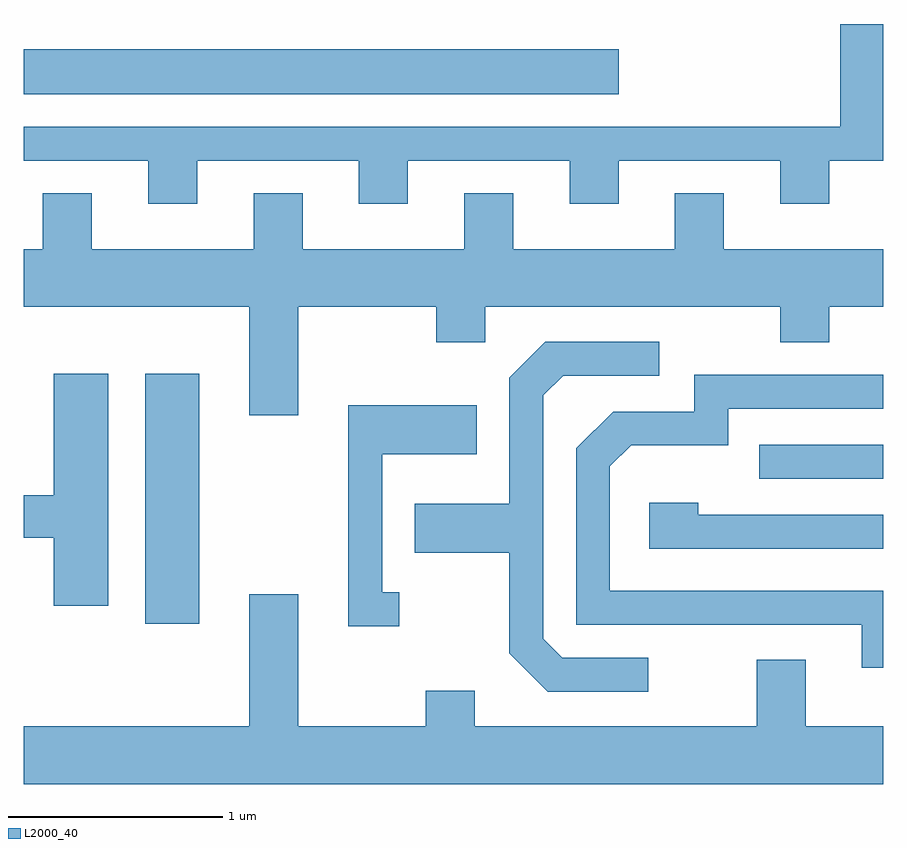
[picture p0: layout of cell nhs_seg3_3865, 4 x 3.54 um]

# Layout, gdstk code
import gdstk
lib = gdstk.Library(unit=1e-6, precision=1e-09)
def R(c, l, rs):  # rectangles x0, y0, x1, y1
    for r in rs: c.add(gdstk.rectangle(r[:2], r[2:], *l))
def P(c, l, *ps):  # polygons
    for p in ps: c.add(gdstk.Polygon(p, *l))
L2000_40 = (2000, 40)

nhs_seg3_3865 = lib.new_cell('nhs_seg3_3865')
R(nhs_seg3_3865, L2000_40, [(298.176,1231.101,298.429,1232.264), (301.033,1231.776,301.611,1231.934), (297.611,1233.566,300.379,1233.774)])
P(nhs_seg3_3865, L2000_40, [(298.419,1233.256),(299.171,1233.256),(299.171,1233.056),(299.399,1233.056),(299.399,1233.256),(300.151,1233.256),(300.151,1233.056),(300.379,1233.056),(300.379,1233.256),(301.131,1233.256),(301.131,1233.056),(301.359,1233.056),(301.359,1233.256),(301.611,1233.256),(301.611,1233.892),(301.411,1233.892),(301.411,1233.414),(297.611,1233.414),(297.611,1233.256),(298.191,1233.256),(298.191,1233.056),(298.419,1233.056)],
  [(298.889,1232.576),(299.531,1232.576),(299.531,1232.411),(299.759,1232.411),(299.759,1232.576),(301.131,1232.576),(301.131,1232.411),(301.359,1232.411),(301.359,1232.576),(301.611,1232.576),(301.611,1232.844),(300.869,1232.844),(300.869,1233.104),(300.641,1233.104),(300.641,1232.844),(299.889,1232.844),(299.889,1233.104),(299.661,1233.104),(299.661,1232.844),(298.909,1232.844),(298.909,1233.104),(298.681,1233.104),(298.681,1232.844),(297.929,1232.844),(297.929,1233.104),(297.701,1233.104),(297.701,1232.844),(297.611,1232.844),(297.611,1232.576),(298.661,1232.576),(298.661,1232.071),(298.889,1232.071)],
  [(300.518,1230.944),(300.117,1230.944),(300.029,1231.032),(300.029,1232.164),(300.122,1232.256),(300.568,1232.256),(300.568,1232.414),(300.039,1232.414),(299.871,1232.247),(299.871,1231.659),(299.431,1231.659),(299.431,1231.431),(299.871,1231.431),(299.871,1230.964),(300.049,1230.786),(300.518,1230.786)],
  [(298.004,1232.264),(297.751,1232.264),(297.751,1231.699),(297.611,1231.699),(297.611,1231.501),(297.751,1231.501),(297.751,1231.186),(298.004,1231.186)],
  [(301.611,1231.254),(300.339,1231.254),(300.339,1231.834),(300.437,1231.931),(300.889,1231.931),(300.889,1232.101),(301.611,1232.101),(301.611,1232.259),(300.731,1232.259),(300.731,1232.089),(300.354,1232.089),(300.181,1231.917),(300.181,1231.096),(301.511,1231.096),(301.511,1230.898),(301.611,1230.898)],
  [(299.358,1231.249),(299.279,1231.249),(299.279,1231.891),(299.719,1231.891),(299.719,1232.119),(299.121,1232.119),(299.121,1231.091),(299.358,1231.091)],
  [(301.611,1231.609),(300.749,1231.609),(300.749,1231.664),(300.521,1231.664),(300.521,1231.451),(301.611,1231.451)],
  [(301.611,1230.624),(301.249,1230.624),(301.249,1230.934),(301.021,1230.934),(301.021,1230.624),(299.709,1230.624),(299.709,1230.789),(299.481,1230.789),(299.481,1230.624),(298.889,1230.624),(298.889,1231.239),(298.661,1231.239),(298.661,1230.624),(297.611,1230.624),(297.611,1230.356),(301.611,1230.356)])

lib.write_gds('nhs_seg3_3865.gds')
